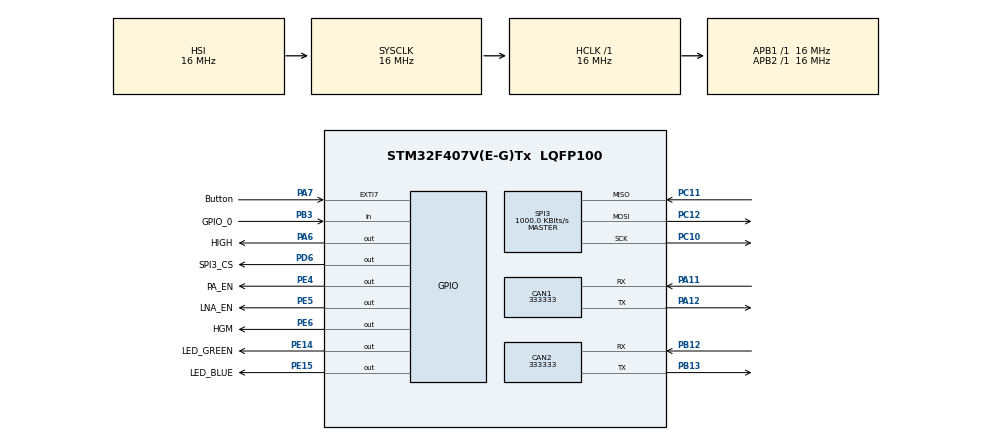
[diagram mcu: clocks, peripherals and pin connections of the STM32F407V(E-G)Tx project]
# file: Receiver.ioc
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CAN1.CalculateBaudRate=333333
CAN1.CalculateTimeBit=3000
CAN1.CalculateTimeQuantum=1000.0
CAN2.CalculateBaudRate=333333
CAN2.CalculateTimeBit=3000
CAN2.CalculateTimeQuantum=1000.0
Mcu.Family=STM32F4
Mcu.Name=STM32F407V(E-G)Tx
Mcu.Package=LQFP100
NVIC.EXTI9_5_IRQn=true\:0\:0\:false\:false\:true\:true\:true\:true
NVIC.PriorityGroup=NVIC_PRIORITYGROUP_4
PA11.Mode=CAN_Activate
PA11.Signal=CAN1_RX
PA12.Mode=CAN_Activate
PA12.Signal=CAN1_TX
PA13.Mode=Serial_Wire
PA13.Signal=SYS_JTMS-SWDIO
PA14.Mode=Serial_Wire
PA14.Signal=SYS_JTCK-SWCLK
PA6.GPIO_Label=HIGH
PA6.PinState=GPIO_PIN_SET
PA6.Signal=GPIO_Output
PA7.GPIO_Label=Button
PA7.Signal=GPXTI7
PB12.Mode=CAN_Activate
PB12.Signal=CAN2_RX
PB13.Mode=CAN_Activate
PB13.Signal=CAN2_TX
PB3.GPIO_Label=GPIO_0
PB3.Signal=GPIO_Input
PC10.Mode=Full_Duplex_Master
PC10.Signal=SPI3_SCK
PC11.Mode=Full_Duplex_Master
PC11.Signal=SPI3_MISO
PC12.Mode=Full_Duplex_Master
PC12.Signal=SPI3_MOSI
PD6.GPIO_Label=SPI3_CS
PD6.Signal=GPIO_Output
PE14.GPIO_Label=LED_GREEN
PE14.Signal=GPIO_Output
PE15.GPIO_Label=LED_BLUE
PE15.Signal=GPIO_Output
PE4.GPIO_Label=PA_EN
PE4.PinState=GPIO_PIN_SET
PE4.Signal=GPIO_Output
PE5.GPIO_Label=LNA_EN
PE5.Signal=GPIO_Output
PE6.GPIO_Label=HGM
PE6.PinState=GPIO_PIN_SET
PE6.Signal=GPIO_Output
ProjectManager.HeapSize=0x200
ProjectManager.StackSize=0x400
ProjectManager.TargetToolchain=STM32CubeIDE
RCC.AHBFreq_Value=16000000
RCC.APB1Freq_Value=16000000
RCC.APB2Freq_Value=16000000
RCC.CortexFreq_Value=16000000
RCC.HSE_VALUE=25000000
RCC.HSI_VALUE=16000000
RCC.LSE_VALUE=32768
RCC.SYSCLKFreq_VALUE=16000000
RCC.VCOOutputFreq_Value=192000000
SPI3.BaudRatePrescaler=SPI_BAUDRATEPRESCALER_16
SPI3.CalculateBaudRate=1000.0 KBits/s
SPI3.Direction=SPI_DIRECTION_2LINES
SPI3.Mode=SPI_MODE_MASTER
SPI3.VirtualType=VM_MASTER
board=custom

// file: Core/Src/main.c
/* USER CODE BEGIN Header */
/**
  ******************************************************************************
  * @file           : main.c
  * @brief          : Main program body
  ******************************************************************************
  * @attention
  *
  * Copyright (c) 2023 STMicroelectronics.
  * All rights reserved.
  *
  * This software is licensed under terms that can be found in the LICENSE file
  * in the root directory of this software component.
  * If no LICENSE file comes with this software, it is provided AS-IS.
  *
  ******************************************************************************
  */
/* USER CODE END Header */
#include "main.h"
#include "string.h"

/* USER CODE BEGIN PD */
//COMMAND STROBES
#define SRES           0x30        //Reset chip
#define SFSTXON        0x31        //Enable and calibrate frequency synthesizer (if SETTLING_CFG.FS_AUTOCAL = 1).If in RX and PKT_CFG2.CCA_MODE ≠ 0: Go to a wait state where only the synthesizer isrunning (for quick
#define SXOFF          0x32        //Enter XOFF state when CSn
#define SCAL           0x33        //Calibrate frequency synthesizer and turn it off. SCAL can be strobed from IDLE mode withoutsetting manual calibration mode (SETTLING_CFG.FS_AUTOCAL
#define SRX            0x34        //Enable RX. Perform calibration first if coming from IDLE and SETTLING_CFG.FS_AUTOCAL
#define STX            0x35        //In IDLE state: Enable TX. Perform calibration first if SETTLING_CFG.FS_AUTOCAL = 1. If in RX state and PKT_CFG2.CCA_MODE ≠ 0: Only go to TX if channel
#define SIDLE          0x36        //Exit RX/TX, turn off frequency synthesizer and exit eWOR mode
#define SAFC           0x37        //Automatic
#define SWOR           0x38        //Start automatic RX polling sequence (eWOR) as described in Section 9.6 ifWOR_CFG0.RC_PD
#define SPWD           0x39        //Enter SLEEP mode when CSn
#define SFRX           0x3A        //Flush the RX FIFO. Only issue SFRX in IDLE or
#define SFTX           0x3B        //Flush the TX FIFO. Only issue SFTX in IDLE or
#define SWORRST        0x3C        //Reset the eWOR timer to the
#define SNOP           0x3D        //No operation. May be used to get access to the chip

//configuration registers
#define IOCFG3                   0x0000
#define IOCFG2                   0x0001
#define IOCFG1                   0x0002
#define IOCFG0                   0x0003
#define SYNC3                    0x0004
#define SYNC2                    0x0005
#define SYNC1                    0x0006
#define SYNC0                    0x0007
#define SYNC_CFG1                0x0008
#define SYNC_CFG0                0x0009
#define DEVIATION_M              0x000A
#define MODCFG_DEV_E             0x000B
#define DCFILT_CFG               0x000C
#define PREAMBLE_CFG1            0x000D
#define PREAMBLE_CFG0            0x000E
#define IQIC                     0x000F
#define CHAN_BW                  0x0010
#define MDMCFG1                  0x0011
#define MDMCFG0                  0x0012
#define SYMBOL_RATE2             0x0013
#define SYMBOL_RATE1             0x0014
#define SYMBOL_RATE0             0x0015
#define AGC_REF                  0x0016
#define AGC_CS_THR               0x0017
#define AGC_GAIN_ADJUST          0x0018
#define AGC_CFG3                 0x0019
#define AGC_CFG2                 0x001A
#define AGC_CFG1                 0x001B
#define AGC_CFG0                 0x001C
#define FIFO_CFG                 0x001D
#define DEV_ADDR                 0x001E
#define SETTLING_CFG             0x001F
#define FS_CFG                   0x0020
#define WOR_CFG1                 0x0021
#define WOR_CFG0                 0x0022
#define WOR_EVENT0_MSB           0x0023
#define WOR_EVENT0_LSB           0x0024
#define RXDCM_TIME               0x0025
#define PKT_CFG2                 0x0026
#define PKT_CFG1                 0x0027
#define PKT_CFG0                 0x0028
#define RFEND_CFG1               0x0029
#define RFEND_CFG0               0x002A
#define PA_CFG1                  0x002B
#define PA_CFG0                  0x002C
#define ASK_CFG                  0x002D
#define PKT_LEN                  0x002E

// Extended Configuration Registers
#define IF_MIX_CFG               0x2F00
#define FREQOFF_CFG              0x2F01
#define TOC_CFG                  0x2F02
#define MARC_SPARE               0x2F03
#define ECG_CFG                  0x2F04
#define MDMCFG2                  0x2F05
#define EXT_CTRL                 0x2F06
#define RCCAL_FINE               0x2F07
#define RCCAL_COARSE             0x2F08
#define RCCAL_OFFSET             0x2F09
#define FREQOFF1                 0x2F0A
#define FREQOFF0                 0x2F0B
#define FREQ2                    0x2F0C
#define FREQ1                    0x2F0D
#define FREQ0                    0x2F0E
#define IF_ADC2                  0x2F0F
#define IF_ADC1                  0x2F10
#define IF_ADC0                  0x2F11
#define FS_DIG1                  0x2F12
#define FS_DIG0                  0x2F13
#define FS_CAL3                  0x2F14
#define FS_CAL2                  0x2F15
#define FS_CAL1                  0x2F16
#define FS_CAL0                  0x2F17
#define FS_CHP                   0x2F18
#define FS_DIVTWO                0x2F19
#define FS_DSM1                  0x2F1A
#define FS_DSM0                  0x2F1B
#define FS_DVC1                  0x2F1C
#define FS_DVC0                  0x2F1D
#define FS_LBI                   0x2F1E
#define FS_PFD                   0x2F1F
#define FS_PRE                   0x2F20
#define FS_REG_DIV_CML           0x2F21
#define FS_SPARE                 0x2F22
#define FS_VCO4                  0x2F23
#define FS_VCO3                  0x2F24
#define FS_VCO2                  0x2F25
#define FS_VCO1                  0x2F26
#define FS_VCO0                  0x2F27
#define GBIAS6                   0x2F28
#define GBIAS5                   0x2F29
#define GBIAS4                   0x2F2A
#define GBIAS3                   0x2F2B
#define GBIAS2                   0x2F2C
#define GBIAS1                   0x2F2D
#define GBIAS0                   0x2F2E
#define IFAMP                    0x2F2F
#define LNA                      0x2F30
#define RXMIX                    0x2F31
#define XOSC5                    0x2F32
#define XOSC4                    0x2F33
#define XOSC3                    0x2F34
#define XOSC2                    0x2F35
#define XOSC1                    0x2F36
#define XOSC0                    0x2F37
#define ANALOG_SPARE             0x2F38
#define PA_CFG3                  0x2F39
#define IRQ0M                    0x2F3F
#define IRQ0F                    0x2F40

// Status Registers
#define WOR_TIME1                0x2F64
#define WOR_TIME0                0x2F65
#define WOR_CAPTURE1             0x2F66
#define WOR_CAPTURE0             0x2F67
#define BIST                     0x2F68
#define DCFILTOFFSET_I1          0x2F69
#define DCFILTOFFSET_I0          0x2F6A
#define DCFILTOFFSET_Q1          0x2F6B
#define DCFILTOFFSET_Q0          0x2F6C
#define IQIE_I1                  0x2F6D
#define IQIE_I0                  0x2F6E
#define IQIE_Q1                  0x2F6F
#define IQIE_Q0                  0x2F70
#define RSSI1                    0x2F71
#define RSSI0                    0x2F72
#define MARCSTATE                0x2F73
#define LQI_VAL                  0x2F74
#define PQT_SYNC_ERR             0x2F75
#define DEM_STATUS               0x2F76
#define FREQOFF_EST1             0x2F77
#define FREQOFF_EST0             0x2F78
#define AGC_GAIN3                0x2F79
#define AGC_GAIN2                0x2F7A
#define AGC_GAIN1                0x2F7B
#define AGC_GAIN0                0x2F7C
#define CFM_RX_DATA_OUT          0x2F7D
#define CFM_TX_DATA_IN           0x2F7E
#define ASK_SOFT_RX_DATA         0x2F7F
#define RNDGEN                   0x2F80
#define MAGN2                    0x2F81
#define MAGN1                    0x2F82
#define MAGN0                    0x2F83
#define ANG1                     0x2F84
#define ANG0                     0x2F85
#define CHFILT_I2                0x2F86
#define CHFILT_I1                0x2F87
#define CHFILT_I0                0x2F88
#define CHFILT_Q2                0x2F89
#define CHFILT_Q1                0x2F8A
#define CHFILT_Q0                0x2F8B
#define GPIO_STATUS              0x2F8C
#define FSCAL_CTRL               0x2F8D
#define PHASE_ADJUST             0x2F8E
#define PARTNUMBER               0x2F8F
#define PARTVERSION              0x2F90
#define SERIAL_STATUS            0x2F91
#define MODEM_STATUS1            0x2F92
#define MODEM_STATUS0            0x2F93
#define MARC_STATUS1             0x2F94
#define MARC_STATUS0             0x2F95
#define PA_IFAMP_TEST            0x2F96
#define FSRF_TEST                0x2F97
#define PRE_TEST                 0x2F98
#define PRE_OVR                  0x2F99
#define ADC_TEST                 0x2F9A
#define DVC_TEST                 0x2F9B
#define ATEST                    0x2F9C
#define ATEST_LVDS               0x2F9D
#define ATEST_MODE               0x2F9E
#define XOSC_TEST1               0x2F9F
#define XOSC_TEST0               0x2FA0
#define AES                      0x2FA1
#define MDM_TEST                 0x2FA2

#define RXFIRST                  0x2FD2
#define TXFIRST                  0x2FD3
#define RXLAST                   0x2FD4
#define TXLAST                   0x2FD5
#define NUM_TXBYTES              0x2FD6  /* Number of bytes in TXFIFO */
#define NUM_RXBYTES              0x2FD7  /* Number of bytes in RXFIFO */
#define FIFO_NUM_TXBYTES         0x2FD8
#define FIFO_NUM_RXBYTES         0x2FD9
#define RXFIFO_PRE_BUF           0x2FDA

// DATA FIFO Access
#define SINGLE_TXFIFO            0x003F     /*  TXFIFO  - Single access to Transmit FIFO */
#define BURST_TXFIFO             0x007F     /*  TXFIFO  - Burst access to Transmit FIFO  */
#define SINGLE_RXFIFO            0x00BF     /*  RXFIFO  - Single access to Receive FIFO  */
#define BURST_RXFIFO             0x00FF     /*  RXFIFO  - Burst access to Receive FIFO  */

// Other Register Access, look at page 11 of user manual
#define RADIO_BURST_ACCESS   	0x40
#define RADIO_SINGLE_ACCESS  	0x00
#define RADIO_READ_ACCESS    	0x80
#define RADIO_WRITE_ACCESS   	0x00

// Data modes
#define DATA_MODE_50kbps   	    0x1
#define DATA_MODE_250kbps       0x2
#define DATA_MODE_500kbps   	0x3
/* USER CODE END PD */

CAN_HandleTypeDef hcan1;
CAN_HandleTypeDef hcan2;

SPI_HandleTypeDef hspi3;

/* USER CODE BEGIN PV */
int dataSize = 4; //Data byte size sent
char SPI_BUFFER[8]; //8 byte buffer that stores temporary data immediately after read form transceiver
char MSG[4]; //data array with size 4 since that is the data size that is sent

/* USER CODE END PV */

void SystemClock_Config(void);
static void MX_GPIO_Init(void);
static void MX_CAN1_Init(void);
static void MX_CAN2_Init(void);
static void MX_SPI3_Init(void);

/* USER CODE BEGIN 0 */
// Sets CS low, selecting the transceiver
void CS_Select()  {
	HAL_GPIO_WritePin(SPI3_CS_GPIO_Port, SPI3_CS_Pin, GPIO_PIN_RESET);

}

// Sets CS high, deselecting the transceiver
void CS_Deselect()  {
	HAL_GPIO_WritePin(SPI3_CS_GPIO_Port, SPI3_CS_Pin, GPIO_PIN_SET);

}

// Waits until MISO goes low, to not interact with the transceiver before it's ready
void wait_Miso() {
	while(HAL_GPIO_ReadPin(GPIOC,GPIO_PIN_11)>0){
		__NOP();
	}
}

//Write to register
void writeReg(uint16_t regAddr, uint8_t value)
{
	uint8_t extended_or_not  = (uint8_t)(regAddr>>8);
	uint8_t extended_addr = (uint8_t)(regAddr & 0x00FF);
	if (extended_or_not == 0){
		CS_Select();                     									   // Select CS
		wait_Miso();                          							  	 // Wait until MISO goes low
		HAL_SPI_Transmit(&hspi3, (uint8_t*)&regAddr, 1, 100);                // Send register address
		HAL_SPI_Transmit(&hspi3, (uint8_t*)&value, 1, 100);                  // Send value
		CS_Deselect();                    	   							   // Deselect CC1101
	}
	else if (extended_or_not == 0x2F){//read page 9 of user manual, 2F is the flag byte which is followed by the address
		CS_Select();                     								   // Select CS
		wait_Miso();                          							   // Wait until MISO goes low
		HAL_SPI_Transmit(&hspi3, (uint8_t*)&extended_or_not, 1, 100);      // Access the extended registers
		HAL_SPI_Transmit(&hspi3, (uint8_t*)&extended_addr, 1, 100);        // Send register address
		HAL_SPI_Transmit(&hspi3, (uint8_t*)&value, 1, 100);				   // Send value
		CS_Deselect();                    	   							   // Deselect CC1101
	}
}

// Write to register (ONLY USED FOR SETTING THE INTIAL SETTINGS. The name is "halRfWriteReg" so it matches with SMARTRF Studio
void halRfWriteReg(uint16_t setting, uint8_t value)
{
	writeReg(setting, value);
}

// Send command strobe (FIFO_BYTES_AVAILABLE CASE 1)
void command_strobe1(uint8_t cmd){
    CS_Select();// set the CS pin to LOW
    wait_Miso();// Wait until MISO goes low
    HAL_SPI_Transmit(&hspi3, (uint8_t*)&cmd, 1, 100);// Send register address
    CS_Deselect();
  }

// Read register
void readReg(uint16_t regAddr) {
    uint8_t addr;
    uint8_t extended_or_not  = (uint8_t)(regAddr>>8);
    uint8_t extended_addr = (uint8_t)(regAddr & 0x00FF);
    // With cc1200 there are 2 types of register accesses and the following code choose the right one.
    if (extended_or_not == 0){
		addr = regAddr | RADIO_READ_ACCESS;			  					// Bitwise and to get the right address
		CS_Select();                									// set the SS pin to LOW
		wait_Miso();                          							// Wait until MISO goes low
		HAL_SPI_Transmit(&hspi3, (uint8_t*)&addr, 1, 100);              // Send register address
		HAL_SPI_Receive(&hspi3, (uint8_t*)&SPI_BUFFER, 1, 100);         // Read result
		CS_Deselect();                    							 	// set the SS pin to HIGH
	}
    else if (extended_or_not == 0x2F){
    	extended_or_not = extended_or_not | RADIO_READ_ACCESS;			  				 // Bitwise and to get the right address
		CS_Select();                									// set the SS pin to LOW
		wait_Miso();                          							// Wait until MISO goes low
		HAL_SPI_Transmit(&hspi3, (uint8_t*)&extended_or_not, 1, 100);	// Access the extended registers
		HAL_SPI_Transmit(&hspi3, (uint8_t*)&extended_addr, 1, 100);     // Send register address
		HAL_SPI_Receive(&hspi3, (uint8_t*)&SPI_BUFFER, 1, 100);         // Read result
		CS_Deselect();                    							 	// set the SS pin to HIGH

    }
}

//attempts to put the transceiver in receive mode
//while error: resets transceiver
void set_in_receive_mode(){
	command_strobe1(SRX);//Set in receive mode
	readReg(MARCSTATE); //state of transceiver, 01101101 = RXIDLE
	while(SPI_BUFFER[0]==0b10001){//bit sequence of RX_FIFO_ERROR
		command_strobe1(SRES);//reset chip
		command_strobe1(SRX);//Set in receive mode
		readReg(MARCSTATE); //state of transceiver
	}
	memset(SPI_BUFFER, 0, sizeof SPI_BUFFER);//Clear buffer since marcstate will be in SPI_BUFFER[0]
}

void process_data(){
	//TODO send on can
	HAL_GPIO_TogglePin(LED_BLUE_GPIO_Port, LED_BLUE_Pin);
	//clear MSG
	memset(MSG, 0, sizeof MSG);

}
/* USER CODE END 0 */

int main(void)
{

  /* MCU Configuration--------------------------------------------------------*/

  /* Reset of all peripherals, Initializes the Flash interface and the Systick. */
  HAL_Init();

  /* Configure the system clock */
  SystemClock_Config();

  /* Initialize all configured peripherals */
  MX_GPIO_Init();
  MX_CAN1_Init();
  MX_CAN2_Init();
  MX_SPI3_Init();
  /* USER CODE BEGIN 2 */
  HAL_GPIO_WritePin(SPI3_CS_GPIO_Port, SPI3_CS_Pin, GPIO_PIN_SET);//Active Low so this deactivates it
  HAL_GPIO_WritePin(PA_EN_GPIO_Port, PA_EN_Pin, GPIO_PIN_RESET);//To not transmit
  HAL_GPIO_WritePin(HGM_GPIO_Port, HGM_Pin, GPIO_PIN_RESET);
  HAL_GPIO_WritePin(LNA_EN_GPIO_Port, LNA_EN_Pin, GPIO_PIN_SET);//To receive
  HAL_GPIO_WritePin(LED_GREEN_GPIO_Port, LED_GREEN_Pin, GPIO_PIN_RESET);
  HAL_GPIO_WritePin(LED_BLUE_GPIO_Port, LED_BLUE_Pin, GPIO_PIN_RESET);

  //Set transceiver in receive mode, while error: continue trying to set it in receive
  set_in_receive_mode();

  /* USER CODE END 2 */

  /* Infinite loop */
  /* USER CODE BEGIN WHILE */
  while (1)
  {

	  //Wait for packets(as an interrupt)
	  //if data in buffer, process it, then clear data buffer

	  if(MSG[0] != 0){//there is data in the buffer
		  process_data();
	  }

    /* USER CODE END WHILE */

  }
}

void SystemClock_Config(void)
{
  RCC_OscInitTypeDef RCC_OscInitStruct = {0};
  RCC_ClkInitTypeDef RCC_ClkInitStruct = {0};

  /** Configure the main internal regulator output voltage
  */
  __HAL_RCC_PWR_CLK_ENABLE();
  __HAL_PWR_VOLTAGESCALING_CONFIG(PWR_REGULATOR_VOLTAGE_SCALE1);

  /** Initializes the RCC Oscillators according to the specified parameters
  * in the RCC_OscInitTypeDef structure.
  */
  RCC_OscInitStruct.OscillatorType = RCC_OSCILLATORTYPE_HSI;
  RCC_OscInitStruct.HSIState = RCC_HSI_ON;
  RCC_OscInitStruct.HSICalibrationValue = RCC_HSICALIBRATION_DEFAULT;
  RCC_OscInitStruct.PLL.PLLState = RCC_PLL_NONE;
  if (HAL_RCC_OscConfig(&RCC_OscInitStruct) != HAL_OK)
  {
    Error_Handler();
  }

  /** Initializes the CPU, AHB and APB buses clocks
  */
  RCC_ClkInitStruct.ClockType = RCC_CLOCKTYPE_HCLK|RCC_CLOCKTYPE_SYSCLK
                              |RCC_CLOCKTYPE_PCLK1|RCC_CLOCKTYPE_PCLK2;
  RCC_ClkInitStruct.SYSCLKSource = RCC_SYSCLKSOURCE_HSI;
  RCC_ClkInitStruct.AHBCLKDivider = RCC_SYSCLK_DIV1;
  RCC_ClkInitStruct.APB1CLKDivider = RCC_HCLK_DIV1;
  RCC_ClkInitStruct.APB2CLKDivider = RCC_HCLK_DIV1;

  if (HAL_RCC_ClockConfig(&RCC_ClkInitStruct, FLASH_LATENCY_0) != HAL_OK)
  {
    Error_Handler();
  }
}

static void MX_CAN1_Init(void)
{

  hcan1.Instance = CAN1;
  hcan1.Init.Prescaler = 16;
  hcan1.Init.Mode = CAN_MODE_NORMAL;
  hcan1.Init.SyncJumpWidth = CAN_SJW_1TQ;
  hcan1.Init.TimeSeg1 = CAN_BS1_1TQ;
  hcan1.Init.TimeSeg2 = CAN_BS2_1TQ;
  hcan1.Init.TimeTriggeredMode = DISABLE;
  hcan1.Init.AutoBusOff = DISABLE;
  hcan1.Init.AutoWakeUp = DISABLE;
  hcan1.Init.AutoRetransmission = DISABLE;
  hcan1.Init.ReceiveFifoLocked = DISABLE;
  hcan1.Init.TransmitFifoPriority = DISABLE;
  if (HAL_CAN_Init(&hcan1) != HAL_OK)
  {
    Error_Handler();
  }

}

static void MX_CAN2_Init(void)
{

  hcan2.Instance = CAN2;
  hcan2.Init.Prescaler = 16;
  hcan2.Init.Mode = CAN_MODE_NORMAL;
  hcan2.Init.SyncJumpWidth = CAN_SJW_1TQ;
  hcan2.Init.TimeSeg1 = CAN_BS1_1TQ;
  hcan2.Init.TimeSeg2 = CAN_BS2_1TQ;
  hcan2.Init.TimeTriggeredMode = DISABLE;
  hcan2.Init.AutoBusOff = DISABLE;
  hcan2.Init.AutoWakeUp = DISABLE;
  hcan2.Init.AutoRetransmission = DISABLE;
  hcan2.Init.ReceiveFifoLocked = DISABLE;
  hcan2.Init.TransmitFifoPriority = DISABLE;
  if (HAL_CAN_Init(&hcan2) != HAL_OK)
  {
    Error_Handler();
  }

}

static void MX_SPI3_Init(void)
{

  /* SPI3 parameter configuration*/
  hspi3.Instance = SPI3;
  hspi3.Init.Mode = SPI_MODE_MASTER;
  hspi3.Init.Direction = SPI_DIRECTION_2LINES;
  hspi3.Init.DataSize = SPI_DATASIZE_8BIT;
  hspi3.Init.CLKPolarity = SPI_POLARITY_LOW;
  hspi3.Init.CLKPhase = SPI_PHASE_1EDGE;
  hspi3.Init.NSS = SPI_NSS_SOFT;
  hspi3.Init.BaudRatePrescaler = SPI_BAUDRATEPRESCALER_16;
  hspi3.Init.FirstBit = SPI_FIRSTBIT_MSB;
  hspi3.Init.TIMode = SPI_TIMODE_DISABLE;
  hspi3.Init.CRCCalculation = SPI_CRCCALCULATION_DISABLE;
  hspi3.Init.CRCPolynomial = 10;
  if (HAL_SPI_Init(&hspi3) != HAL_OK)
  {
    Error_Handler();
  }

}

static void MX_GPIO_Init(void)
{
  GPIO_InitTypeDef GPIO_InitStruct = {0};

  /* GPIO Ports Clock Enable */
  __HAL_RCC_GPIOE_CLK_ENABLE();
  __HAL_RCC_GPIOA_CLK_ENABLE();
  __HAL_RCC_GPIOB_CLK_ENABLE();
  __HAL_RCC_GPIOC_CLK_ENABLE();
  __HAL_RCC_GPIOD_CLK_ENABLE();

  /*Configure GPIO pin Output Level */
  HAL_GPIO_WritePin(GPIOE, PA_EN_Pin|HGM_Pin, GPIO_PIN_SET);

  /*Configure GPIO pin Output Level */
  HAL_GPIO_WritePin(GPIOE, LNA_EN_Pin|LED_GREEN_Pin|LED_BLUE_Pin, GPIO_PIN_RESET);

  /*Configure GPIO pin Output Level */
  HAL_GPIO_WritePin(HIGH_GPIO_Port, HIGH_Pin, GPIO_PIN_SET);

  /*Configure GPIO pin Output Level */
  HAL_GPIO_WritePin(SPI3_CS_GPIO_Port, SPI3_CS_Pin, GPIO_PIN_RESET);

  /*Configure GPIO pins : PA_EN_Pin LNA_EN_Pin HGM_Pin LED_GREEN_Pin
                           LED_BLUE_Pin */
  GPIO_InitStruct.Pin = PA_EN_Pin|LNA_EN_Pin|HGM_Pin|LED_GREEN_Pin
                          |LED_BLUE_Pin;
  GPIO_InitStruct.Mode = GPIO_MODE_OUTPUT_PP;
  GPIO_InitStruct.Pull = GPIO_NOPULL;
  GPIO_InitStruct.Speed = GPIO_SPEED_FREQ_LOW;
  HAL_GPIO_Init(GPIOE, &GPIO_InitStruct);

  /*Configure GPIO pin : HIGH_Pin */
  GPIO_InitStruct.Pin = HIGH_Pin;
  GPIO_InitStruct.Mode = GPIO_MODE_OUTPUT_PP;
  GPIO_InitStruct.Pull = GPIO_NOPULL;
  GPIO_InitStruct.Speed = GPIO_SPEED_FREQ_LOW;
  HAL_GPIO_Init(HIGH_GPIO_Port, &GPIO_InitStruct);

  /*Configure GPIO pin : Button_Pin */
  GPIO_InitStruct.Pin = Button_Pin;
  GPIO_InitStruct.Mode = GPIO_MODE_IT_RISING;
  GPIO_InitStruct.Pull = GPIO_NOPULL;
  HAL_GPIO_Init(Button_GPIO_Port, &GPIO_InitStruct);

  /*Configure GPIO pin : SPI3_CS_Pin */
  GPIO_InitStruct.Pin = SPI3_CS_Pin;
  GPIO_InitStruct.Mode = GPIO_MODE_OUTPUT_PP;
  GPIO_InitStruct.Pull = GPIO_NOPULL;
  GPIO_InitStruct.Speed = GPIO_SPEED_FREQ_LOW;
  HAL_GPIO_Init(SPI3_CS_GPIO_Port, &GPIO_InitStruct);

  /*Configure GPIO pin : GPIO_0_Pin */
  GPIO_InitStruct.Pin = GPIO_0_Pin;
  GPIO_InitStruct.Mode = GPIO_MODE_INPUT;
  GPIO_InitStruct.Pull = GPIO_NOPULL;
  HAL_GPIO_Init(GPIO_0_GPIO_Port, &GPIO_InitStruct);

  /* EXTI interrupt init*/
  HAL_NVIC_SetPriority(EXTI9_5_IRQn, 0, 0);
  HAL_NVIC_EnableIRQ(EXTI9_5_IRQn);

}

/* USER CODE BEGIN 4 */
void HAL_GPIO_EXTI_Callback(uint16_t GPIO_PIN){

	if(GPIO_PIN == GPIO_0_Pin){//Triggered by receiver flagging it has a packet
		//Extract packet from transceiver
		readReg(SINGLE_RXFIFO);
		memcpy(MSG, SPI_BUFFER, dataSize);
		memset(SPI_BUFFER, 0, sizeof SPI_BUFFER);
		//TODO Check packet for bit errors, if any discard packet, if not extract data

		//set transceiver in receive mode, then return to while loop
		set_in_receive_mode();
	}
}
/* USER CODE END 4 */

void Error_Handler(void)
{
  __disable_irq();
  while (1)
  {
  }
}
